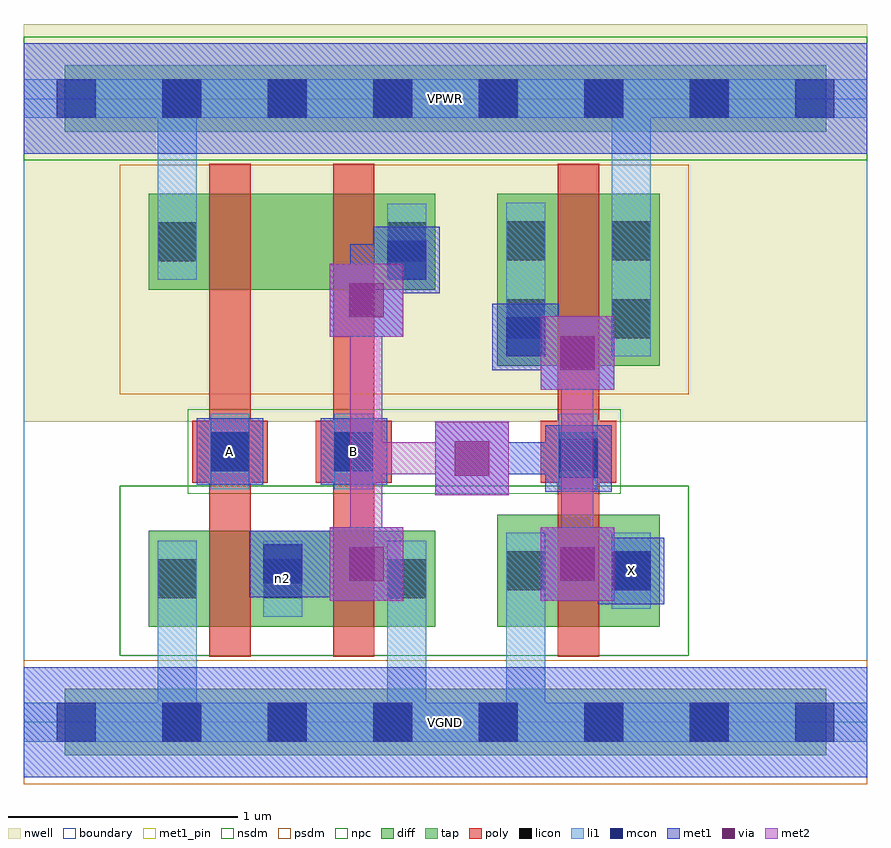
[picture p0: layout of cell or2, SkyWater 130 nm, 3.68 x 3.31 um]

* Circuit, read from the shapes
.subckt or2 A B VGND VPWR X n2
XM1 n2 A VGND VGND sky130_fd_pr__nfet_01v8 w=0.42 l=0.18
XM2 VGND B n2 VGND sky130_fd_pr__nfet_01v8 w=0.42 l=0.18
XM3 X n2 VGND VGND sky130_fd_pr__nfet_01v8 w=0.49 l=0.18
XM4 n1 A VPWR VPWR sky130_fd_pr__pfet_01v8 w=0.42 l=0.18
XM5 n2 B n1 VPWR sky130_fd_pr__pfet_01v8 w=0.42 l=0.18
XM6 VPWR n2 X VPWR sky130_fd_pr__pfet_01v8 w=0.75 l=0.18
.ends

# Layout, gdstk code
import gdstk
lib = gdstk.Library(unit=1e-6, precision=1e-09)
def R(c, l, rs):  # rectangles x0, y0, x1, y1
    for r in rs: c.add(gdstk.rectangle(r[:2], r[2:], *l))
def A(c, l, x, y, w, h, nx, ny, dx, dy):  # array of equal rectangles
    R(c, l, [(x+i*dx, y+j*dy, x+i*dx+w, y+j*dy+h) for i in range(nx) for j in range(ny)])
nwell = (64, 20)
diff = (65, 20)
tap = (65, 44)
poly = (66, 20)
licon = (66, 44)
li1 = (67, 20)
mcon = (67, 44)
met1_pin = (68, 16)
met1 = (68, 20)
via = (68, 44)
met2 = (69, 20)
nsdm = (93, 44)
psdm = (94, 20)
npc = (95, 20)
boundary = (235, 4)

or2 = lib.new_cell('or2')
R(or2, nwell, [(0,1.31,3.68,3.045)])
R(or2, diff, [(0.545,0.415,1.795,0.835), (2.065,0.415,2.775,0.905), (2.065,1.555,2.775,2.305), (0.545,1.885,1.795,2.305)])
R(or2, tap, [(0.18,-0.145,3.5,0.145), (0.18,2.575,3.5,2.865)])
R(or2, poly, [(0.81,0.285,0.99,2.435), (1.35,0.285,1.53,2.435), (2.33,0.285,2.51,2.435), (0.735,1.045,1.065,1.315), (1.275,1.045,1.605,1.315), (2.255,1.045,2.585,1.315)])
A(or2, licon, 0.605, -0.085, 0.17, 0.17, 6, 2, 0.46, 2.72)
R(or2, licon, [(0.585,0.54,0.755,0.71), (1.045,0.54,1.215,0.71), (1.585,0.54,1.755,0.71), (2.105,0.575,2.275,0.745), (2.565,0.575,2.735,0.745), (0.815,1.095,0.985,1.265), (1.355,1.095,1.525,1.265), (2.335,1.095,2.505,1.265), (2.105,1.675,2.275,1.845), (2.565,1.675,2.735,1.845), (0.585,2.01,0.755,2.18), (1.585,2.01,1.755,2.18), (2.105,2.015,2.275,2.185), (2.565,2.015,2.735,2.185)])
R(or2, li1, [(0,-0.085,3.68,0.085), (0.585,-0.085,0.755,0.79), (1.585,-0.085,1.755,0.79), (2.105,-0.085,2.275,0.825), (0.585,0.46,0.755,0.79), (1.045,0.46,1.215,0.79), (1.585,0.46,1.755,0.79), (2.105,0.495,2.275,0.825), (2.565,0.495,2.735,0.825), (0.815,1.015,0.985,1.345), (1.355,1.015,1.525,1.345), (2.335,1.015,2.505,1.345), (2.105,1.595,2.275,2.265), (2.565,1.595,2.735,2.265), (2.565,1.595,2.735,2.805), (0.585,1.93,0.755,2.26), (0.585,1.93,0.755,2.805), (1.585,1.93,1.755,2.26), (0,2.635,3.68,2.805)])
A(or2, mcon, 0.145, -0.085, 0.17, 0.17, 8, 2, 0.46, 2.72)
R(or2, mcon, [(2.565,0.575,2.735,0.745), (1.045,0.605,1.215,0.775), (2.335,1.065,2.505,1.235), (0.815,1.095,0.985,1.265), (1.355,1.095,1.525,1.265), (2.105,1.595,2.275,1.765), (1.585,1.93,1.755,2.1)])
R(or2, met1_pin, [(0,-0.24,3.68,0.24), (2.505,0.515,2.795,0.805), (0.755,1.035,1.045,1.325), (1.295,1.035,1.585,1.325), (0,2.48,3.68,2.96)])
R(or2, met1, [(0,-0.24,3.68,0.24), (2.505,0.515,2.795,0.805), (1.335,0.53,1.655,0.85), (2.255,0.53,2.575,0.85), (0.985,0.545,1.275,0.835), (1.275,0.545,1.335,0.835), (1.06,0.62,1.335,0.76), (1.195,0.62,1.565,0.76), (2.345,0.62,2.715,0.76), (2.575,0.62,2.715,0.76), (1.795,0.99,2.115,1.31), (2.275,1.005,2.565,1.295), (0.755,1.035,1.045,1.325), (1.295,1.035,1.585,1.325), (1.885,1.08,2.37,1.22), (2.23,1.08,2.49,1.22), (2.255,1.45,2.575,1.77), (2.045,1.535,2.335,1.825), (2.23,1.54,2.37,1.75), (2.23,1.54,2.485,1.68), (2.12,1.61,2.37,1.75), (1.335,1.68,1.655,2), (1.425,1.77,1.565,2.085), (1.525,1.87,1.815,2.16), (1.425,1.945,1.74,2.085), (0,2.48,3.68,2.96)])
R(or2, via, [(1.42,0.615,1.57,0.765), (2.34,0.615,2.49,0.765), (1.88,1.075,2.03,1.225), (2.34,1.535,2.49,1.685), (1.42,1.765,1.57,1.915)])
R(or2, met2, [(1.335,0.53,1.655,0.85), (2.255,0.53,2.575,0.85), (1.425,0.62,1.565,1.91), (2.345,0.62,2.485,1.68), (1.795,0.99,2.115,1.31), (1.425,1.08,2.025,1.22), (2.255,1.45,2.575,1.77), (1.335,1.68,1.655,2)])
R(or2, nsdm, [(0.42,0.29,2.9,1.03), (0,2.45,3.68,2.99)])
R(or2, psdm, [(0,-0.27,3.68,0.27), (0.42,1.43,2.9,2.43)])
R(or2, npc, [(0.715,0.995,2.605,1.365)])
R(or2, boundary, [(0,0,3.68,2.72)])
or2.add(gdstk.Label('n2', (1.13,0.625), layer=67, texttype=5))
or2.add(gdstk.Label('A', (0.9,1.18), layer=68, texttype=5))
or2.add(gdstk.Label('B', (1.44,1.18), layer=68, texttype=5))
or2.add(gdstk.Label('X', (2.65,0.66), layer=68, texttype=5))
or2.add(gdstk.Label('VPWR', (1.84,2.72), layer=68, texttype=5))
or2.add(gdstk.Label('VGND', (1.84,0), layer=68, texttype=5))
or2.add(gdstk.Label('A', (0.9,1.18), layer=68, texttype=16))
or2.add(gdstk.Label('B', (1.44,1.18), layer=68, texttype=16))
or2.add(gdstk.Label('X', (2.65,0.66), layer=68, texttype=16))
or2.add(gdstk.Label('VPWR', (1.84,2.72), layer=68, texttype=16))
or2.add(gdstk.Label('VGND', (1.84,0), layer=68, texttype=16))

lib.write_gds('or2.gds')
